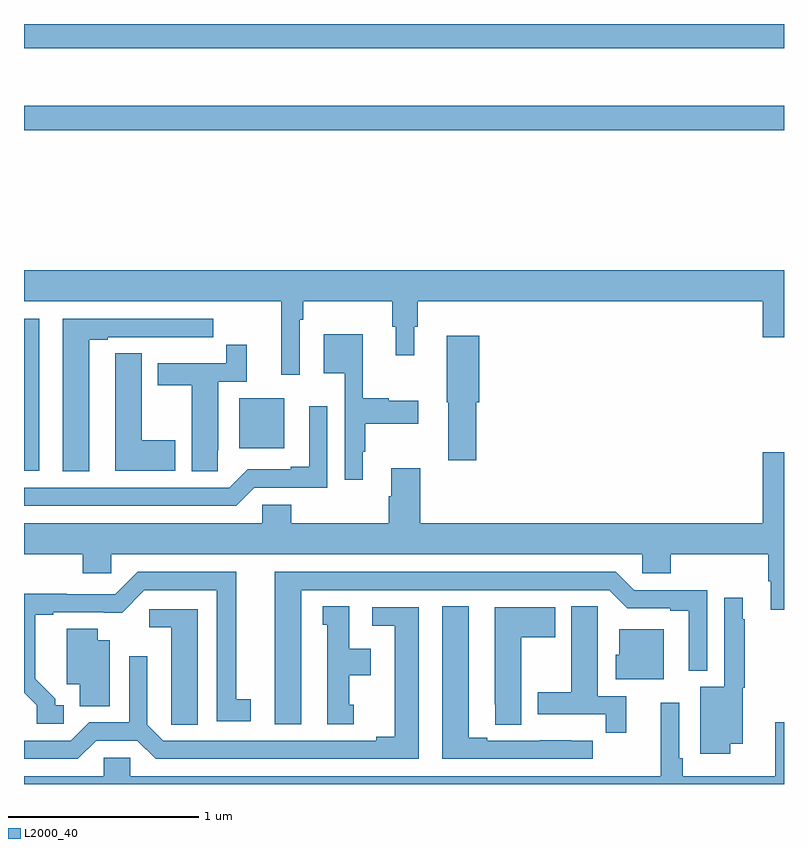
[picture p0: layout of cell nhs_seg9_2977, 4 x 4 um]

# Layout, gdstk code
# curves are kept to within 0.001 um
import gdstk
lib = gdstk.Library(unit=1e-6, precision=1e-09)
def R(c, l, rs):  # rectangles x0, y0, x1, y1
    for r in rs: c.add(gdstk.rectangle(r[:2], r[2:], *l))
def P(c, l, *ps):  # polygons
    for p in ps: c.add(gdstk.Polygon(p, *l))
L2000_40 = (2000, 40)

nhs_seg9_2977 = lib.new_cell('nhs_seg9_2977')
R(nhs_seg9_2977, L2000_40, [(281,1242.15,281.08,1242.948), (282.134,1242.266,282.37,1242.529), (281,1243.942,285,1244.071), (281,1244.372,285,1244.5)])
P(nhs_seg9_2977, L2000_40, [(282.45,1242.944),(282.47,1242.944),(282.47,1243.04),(282.937,1243.04),(282.937,1242.906),(282.956,1242.906),(282.956,1242.756),(283.054,1242.756),(283.054,1242.906),(283.073,1242.906),(283.073,1243.04),(284.888,1243.04),(284.888,1242.852),(285,1242.852),(285,1243.204),(281,1243.204),(281,1243.04),(282.353,1243.04),(282.353,1242.654),(282.45,1242.654)],
  [(281.344,1242.837),(281.44,1242.837),(281.44,1242.852),(281.716,1242.852),(281.716,1242.851),(281.882,1242.851),(281.882,1242.852),(281.995,1242.852),(281.995,1242.948),(281.204,1242.948),(281.204,1242.145),(281.344,1242.145)],
  [(282.784,1242.25),(282.796,1242.25),(282.796,1242.395),(283.075,1242.395),(283.075,1242.517),(282.921,1242.517),(282.921,1242.53),(282.784,1242.53),(282.784,1242.868),(282.578,1242.868),(282.578,1242.662),(282.687,1242.662),(282.687,1242.102),(282.784,1242.102)],
  [(283.379,1242.51),(283.397,1242.51),(283.397,1242.859),(283.226,1242.859),(283.226,1242.51),(283.232,1242.51),(283.232,1242.204),(283.379,1242.204)],
  [(282.021,1242.256),(282.022,1242.256),(282.022,1242.618),(282.173,1242.618),(282.173,1242.811),(282.064,1242.811),(282.064,1242.714),(281.705,1242.714),(281.705,1242.598),(281.882,1242.598),(281.882,1242.145),(282.021,1242.145)],
  [(281.797,1242.309),(281.62,1242.309),(281.62,1242.767),(281.481,1242.767),(281.481,1242.659),(281.48,1242.659),(281.48,1242.149),(281.797,1242.149)],
  [(282.213,1242.06),(282.597,1242.06),(282.597,1242.487),(282.5,1242.487),(282.5,1242.169),(282.404,1242.169),(282.404,1242.156),(282.177,1242.156),(282.081,1242.06),(281,1242.06),(281,1241.964),(282.117,1241.964)],
  [(285,1242.247),(284.888,1242.247),(284.888,1241.872),(283.085,1241.872),(283.085,1242.163),(282.932,1242.163),(282.932,1242.014),(282.92,1242.014),(282.92,1241.872),(282.407,1241.872),(282.407,1241.97),(282.255,1241.97),(282.255,1241.872),(281,1241.872),(281,1241.708),(281.309,1241.708),(281.309,1241.61),(281.46,1241.61),(281.46,1241.708),(284.253,1241.708),(284.253,1241.61),(284.405,1241.61),(284.405,1241.708),(284.918,1241.708),(284.918,1241.566),(284.93,1241.566),(284.93,1241.418),(285,1241.418)],
  [(282.46,1241.52),(284.079,1241.52),(284.175,1241.424),(284.402,1241.424),(284.402,1241.412),(284.498,1241.412),(284.498,1241.096),(284.595,1241.096),(284.595,1241.52),(284.211,1241.52),(284.115,1241.616),(282.32,1241.616),(282.32,1240.815),(282.46,1240.815)],
  [(281.209,1240.914),(281.164,1240.914),(281.164,1240.949),(281.059,1241.054),(281.059,1241.391),(281.155,1241.391),(281.155,1241.403),(281.516,1241.402),(281.634,1241.52),(282.014,1241.52),(282.014,1240.83),(282.193,1240.83),(282.193,1240.946),(282.118,1240.946),(282.118,1241.616),(281.598,1241.616),(281.481,1241.499),(281.225,1241.499),(281.225,1241.501),(281,1241.501),(281,1240.981),(281.067,1240.914),(281.067,1240.818),(281.209,1240.818)],
  [(284.716,1240.712),(284.782,1240.712),(284.782,1241.007),(284.794,1241.007),(284.794,1241.366),(284.782,1241.366),(284.782,1241.479),(284.685,1241.479),(284.685,1241.011),(284.558,1241.011),(284.558,1240.659),(284.716,1240.659)],
  [(283.993,1240.728),(283.88,1240.728),(283.88,1240.729),(283.714,1240.729),(283.714,1240.728),(283.438,1240.728),(283.438,1240.743),(283.342,1240.743),(283.342,1241.435),(283.202,1241.435),(283.202,1240.632),(283.993,1240.632)],
  [(282.736,1240.917),(282.712,1240.917),(282.712,1241.072),(282.826,1241.072),(282.826,1241.212),(282.712,1241.212),(282.712,1241.435),(282.572,1241.435),(282.572,1241.337),(282.596,1241.337),(282.596,1240.815),(282.736,1240.815)],
  [(284.171,1240.962),(284.02,1240.962),(284.02,1241.324),(284.019,1241.324),(284.019,1241.435),(283.88,1241.435),(283.88,1240.983),(283.703,1240.983),(283.703,1240.866),(284.062,1240.866),(284.062,1240.77),(284.171,1240.77)],
  [(283.618,1241.272),(283.795,1241.272),(283.795,1241.431),(283.478,1241.431),(283.478,1240.921),(283.479,1240.921),(283.479,1240.813),(283.618,1240.813)],
  [(281.379,1240.728),(281.597,1240.728),(281.693,1240.632),(283.078,1240.632),(283.078,1241.43),(282.834,1241.43),(282.834,1241.334),(282.95,1241.334),(282.95,1240.748),(282.854,1240.748),(282.854,1240.728),(281.733,1240.728),(281.649,1240.812),(281.649,1241.173),(281.553,1241.173),(281.553,1240.824),(281.343,1240.824),(281.247,1240.728),(281,1240.728),(281,1240.632),(281.283,1240.632)],
  [(281.914,1241.421),(281.658,1241.421),(281.658,1241.324),(281.774,1241.324),(281.774,1240.921),(281.775,1240.921),(281.775,1240.813),(281.914,1240.813)],
  [(281.452,1241.257),(281.389,1241.257),(281.389,1241.318),(281.225,1241.318),(281.225,1241.024),(281.294,1241.024),(281.294,1240.909),(281.452,1240.909)],
  [(284.368,1241.314),(284.132,1241.314),(284.132,1241.181),(284.114,1241.181),(284.114,1241.051),(284.368,1241.051)],
  [(285,1240.825),(284.953,1240.825),(284.953,1240.54),(284.468,1240.54),(284.468,1240.636),(284.448,1240.636),(284.448,1240.927),(284.351,1240.927),(284.351,1240.54),(281.559,1240.54),(281.559,1240.638),(281.421,1240.638),(281.421,1240.54),(281,1240.54),(281,1240.5),(285,1240.5)])

lib.write_gds('nhs_seg9_2977.gds')
